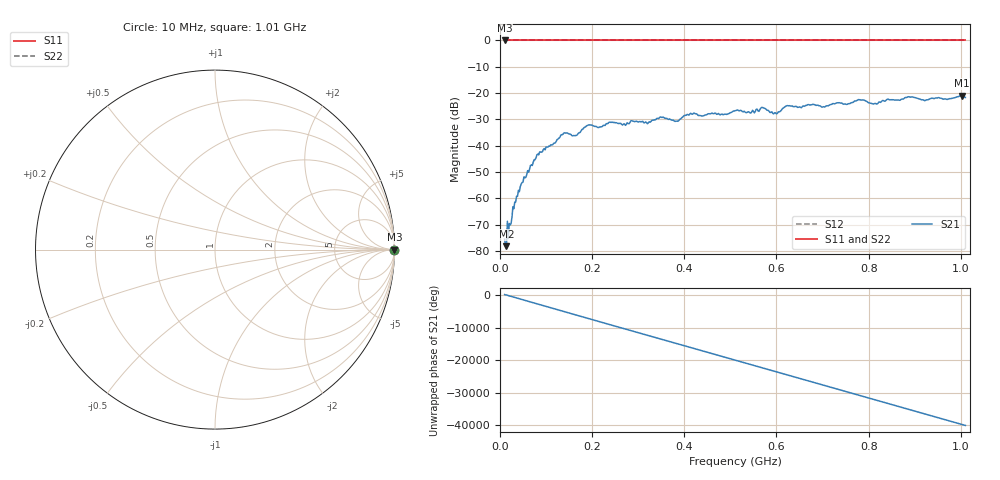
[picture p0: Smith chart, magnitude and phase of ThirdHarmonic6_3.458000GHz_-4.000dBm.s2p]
! 8/17/2025 11:11:16 AM
! C:\ANRITSUVNA\TEMP\TEMP.S2P
! CHANNEL.1
! TR.MEASUREMENT
! RAW.DATA
! RF.CORRECTION.OFF
! AVERAGING.OFF
! IF.BANDWIDTH: 5KHZ
! SWEEPTYPE:  FREQ.SWEEP(Linear)
! Reference Plane Port Info
! PORT:  PORT1  PORT2
! DISTANCE:  0  m  0  m
! TIME:  0  s  0  s
! PHASE.OFFSET:  0  deg.  0  deg.
! LOSS:  0  dB  0  dB
! REF.LOSS:  0  dB  0  dB
! REF.FREQ:  0  Hz  0  Hz
! Power Info
! POWER:  -20  dBm  -20  dBm
! EFF.POWER:  -20  dBm  -20  dBm
! SOURCE.ATTEN:  0  dB  0  dB
! TEST.ATTEN:  0  dB  0  dB
# GHZ S RI R 50.0
! FREQ.GHZ  S11RE  S11IM  S21RE  S21IM  S12RE  S12IM  S22RE  S22IM
!; PortSelection: Port_12
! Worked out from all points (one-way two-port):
!   501 points, 10 MHz to 1.01 GHz, reference 50 ohm
!   highest |S21| = -20.92 dB at 1.002 GHz (marker M1); lowest = -78.2 dB at 14 MHz (marker M2)
!   lowest |S11| = 0.0 dB at 10 MHz (marker M3)
!   |S11| at or under -10 dB: nowhere
!   |S22| runs from 0.0 to 0.0 dB; largest |S21 - S12| = 1.1
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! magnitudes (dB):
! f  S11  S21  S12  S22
! 10 MHz  0.0  -75.5  0.0  0.0
! 14 MHz  0.0  -78.2  0.0  0.0
! 32 MHz  0.0  -61.4  0.0  0.0
! 44 MHz  0.0  -55.5  0.0  0.0
! 78 MHz  0.0  -44.6  0.0  0.0
! 136 MHz  0.0  -35.7  0.0  0.0
! 162 MHz  0.0  -36.2  0.0  0.0
! 178 MHz  0.0  -33.8  0.0  0.0
! 194 MHz  0.0  -32.0  0.0  0.0
! 322 MHz  0.0  -31.3  0.0  0.0
! 344 MHz  0.0  -29.7  0.0  0.0
! 384 MHz  0.0  -30.7  0.0  0.0
! 416 MHz  0.0  -28.0  0.0  0.0
! 510 MHz  0.0  -26.7  0.0  0.0
! 570 MHz  0.0  -25.5  0.0  0.0
! 598 MHz  0.0  -27.5  0.0  0.0
! 624 MHz  0.0  -24.7  0.0  0.0
! 678 MHz  0.0  -24.3  0.0  0.0
! 814 MHz  0.0  -23.9  0.0  0.0
! 844 MHz  0.0  -22.5  0.0  0.0
! 1.002 GHz  0.0  -20.9  0.0  0.0
! 1.01 GHz  0.0  -21.7  0.0  0.0
